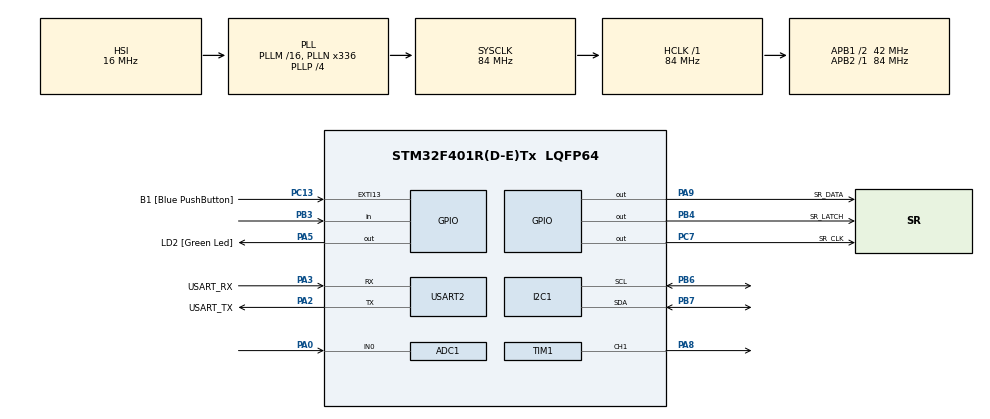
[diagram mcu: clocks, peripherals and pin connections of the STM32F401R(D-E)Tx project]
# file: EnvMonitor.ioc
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ADC1.Channel-1\#ChannelRegularConversion=ADC_CHANNEL_0
ADC1.NbrOfConversionFlag=1
ADC1.Rank-1\#ChannelRegularConversion=1
ADC1.SamplingTime-1\#ChannelRegularConversion=ADC_SAMPLETIME_3CYCLES
ADC1.master=1
Mcu.Family=STM32F4
Mcu.Name=STM32F401R(D-E)Tx
Mcu.Package=LQFP64
NVIC.PriorityGroup=NVIC_PRIORITYGROUP_4
PA0-WKUP.Signal=ADCx_IN0
PA13.GPIO_Label=TMS
PA13.Signal=SYS_JTMS-SWDIO
PA14.GPIO_Label=TCK
PA14.Signal=SYS_JTCK-SWCLK
PA2.GPIO_Label=USART_TX
PA2.GPIO_Mode=GPIO_MODE_AF_PP
PA2.GPIO_PuPd=GPIO_NOPULL
PA2.GPIO_Speed=GPIO_SPEED_FREQ_LOW
PA2.Mode=Asynchronous
PA2.Signal=USART2_TX
PA3.GPIO_Label=USART_RX
PA3.GPIO_Mode=GPIO_MODE_AF_PP
PA3.GPIO_PuPd=GPIO_NOPULL
PA3.GPIO_Speed=GPIO_SPEED_FREQ_LOW
PA3.Mode=Asynchronous
PA3.Signal=USART2_RX
PA5.GPIO_Label=LD2 [Green Led]
PA5.GPIO_Mode=GPIO_MODE_OUTPUT_PP
PA5.GPIO_PuPd=GPIO_NOPULL
PA5.GPIO_Speed=GPIO_SPEED_FREQ_LOW
PA5.Signal=GPIO_Output
PA8.Signal=S_TIM1_CH1
PA9.GPIO_Label=SR_DATA
PA9.Signal=GPIO_Output
PB3.GPIO_PuPd=GPIO_PULLUP
PB3.Signal=GPIO_Input
PB4.GPIO_Label=SR_LATCH
PB4.Signal=GPIO_Output
PB6.Mode=I2C
PB6.Signal=I2C1_SCL
PB7.Mode=I2C
PB7.Signal=I2C1_SDA
PC13-ANTI_TAMP.GPIO_Label=B1 [Blue PushButton]
PC13-ANTI_TAMP.GPIO_ModeDefaultEXTI=GPIO_MODE_IT_FALLING
PC13-ANTI_TAMP.GPIO_PuPd=GPIO_NOPULL
PC13-ANTI_TAMP.Signal=GPXTI13
PC14-OSC32_IN.Mode=LSE-External-Oscillator
PC14-OSC32_IN.Signal=RCC_OSC32_IN
PC15-OSC32_OUT.Mode=LSE-External-Oscillator
PC15-OSC32_OUT.Signal=RCC_OSC32_OUT
PC7.GPIO_Label=SR_CLK
PC7.Signal=GPIO_Output
PH0\ -\ OSC_IN.Mode=HSE-External-Clock-Source
PH0\ -\ OSC_IN.Signal=RCC_OSC_IN
PH1\ -\ OSC_OUT.Mode=HSE-External-Clock-Source
PH1\ -\ OSC_OUT.Signal=RCC_OSC_OUT
ProjectManager.HeapSize=0x200
ProjectManager.StackSize=0x400
ProjectManager.TargetToolchain=STM32CubeIDE
RCC.48MHZClocksFreq_Value=48000000
RCC.AHBFreq_Value=84000000
RCC.APB1CLKDivider=RCC_HCLK_DIV2
RCC.APB1Freq_Value=42000000
RCC.APB1TimFreq_Value=84000000
RCC.APB2Freq_Value=84000000
RCC.APB2TimFreq_Value=84000000
RCC.CortexFreq_Value=84000000
RCC.HCLKFreq_Value=84000000
RCC.HSE_VALUE=8000000
RCC.HSI_VALUE=16000000
RCC.PLLN=336
RCC.PLLP=RCC_PLLP_DIV4
RCC.PLLQ=7
RCC.SYSCLKFreq_VALUE=84000000
RCC.SYSCLKSource=RCC_SYSCLKSOURCE_PLLCLK
RCC.VCOOutputFreq_Value=336000000
SH.ADCx_IN0.0=ADC1_IN0,IN0
SH.S_TIM1_CH1.0=TIM1_CH1,PWM Generation1 CH1
TIM1.Channel-PWM\ Generation1\ CH1=TIM_CHANNEL_1
TIM1.Period=1000
TIM1.Prescaler=84
TIM1.Pulse-PWM\ Generation1\ CH1=500
USART2.VirtualMode=VM_ASYNC
VP_TIM1_VS_ClockSourceINT.Mode=Internal
board=NUCLEO-F401RE

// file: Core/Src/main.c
/* USER CODE BEGIN Header */
/**
  ******************************************************************************
  * @file           : main.c
  * @brief          : Main program body
  ******************************************************************************
  * @attention
  *
  * Copyright (c) 2026 STMicroelectronics.
  * All rights reserved.
  *
  * This software is licensed under terms that can be found in the LICENSE file
  * in the root directory of this software component.
  * If no LICENSE file comes with this software, it is provided AS-IS.
  *
  ******************************************************************************
  */
/* USER CODE END Header */
#include "main.h"

/* USER CODE BEGIN Includes */
#include "ssd1306.h"
#include "fonts.h"
#include "bmp280.h"
#include <stdio.h>
#include <string.h>
/* USER CODE END Includes */

ADC_HandleTypeDef hadc1;

I2C_HandleTypeDef hi2c1;

TIM_HandleTypeDef htim1;

UART_HandleTypeDef huart2;

/* USER CODE BEGIN PV */
uint8_t ledState = 0;           // Current LED state (0=off, 1=on)
uint8_t lastButtonState = 1;    // Last button state (1=not pressed)

// Shift register pin definitions (update if labels didn't work)
#define SR_DATA_Port  GPIOA
#define SR_DATA_Pin   GPIO_PIN_9
#define SR_CLOCK_Port GPIOC
#define SR_CLOCK_Pin  GPIO_PIN_7
#define SR_LATCH_Port GPIOB
#define SR_LATCH_Pin  GPIO_PIN_4

// Function to send byte to shift register
void shiftOut(uint8_t value) {
  // Latch low (preparing to send data)
  HAL_GPIO_WritePin(SR_LATCH_Port, SR_LATCH_Pin, GPIO_PIN_RESET);

  // Send 8 bits, MSB first
  for(int i = 7; i >= 0; i--) {
    // Set data pin
    if(value & (1 << i)) {
      HAL_GPIO_WritePin(SR_DATA_Port, SR_DATA_Pin, GPIO_PIN_SET);
    } else {
      HAL_GPIO_WritePin(SR_DATA_Port, SR_DATA_Pin, GPIO_PIN_RESET);
    }

    // Pulse clock to shift in the bit
    HAL_GPIO_WritePin(SR_CLOCK_Port, SR_CLOCK_Pin, GPIO_PIN_SET);
    HAL_GPIO_WritePin(SR_CLOCK_Port, SR_CLOCK_Pin, GPIO_PIN_RESET);
  }

  // Latch high (display the data)
  HAL_GPIO_WritePin(SR_LATCH_Port, SR_LATCH_Pin, GPIO_PIN_SET);
}
/* USER CODE END PV */

void SystemClock_Config(void);
static void MX_GPIO_Init(void);
static void MX_USART2_UART_Init(void);
static void MX_I2C1_Init(void);
static void MX_ADC1_Init(void);
static void MX_TIM1_Init(void);
/* USER CODE BEGIN PFP */
// Calculate heat index ("feels like" temperature)
float calculate_heat_index(float tempC, float humidity) {
    // Convert to Fahrenheit for the formula
    float tempF = tempC * 9.0f / 5.0f + 32.0f;

    // Simple formula for temperatures below 80°F
    if(tempF < 80.0f) {
        return tempC;  // No heat index adjustment needed
    }

    // Rothfusz regression for heat index
    float hi = -42.379f +
               2.04901523f * tempF +
               10.14333127f * humidity -
               0.22475541f * tempF * humidity -
               0.00683783f * tempF * tempF -
               0.05481717f * humidity * humidity +
               0.00122874f * tempF * tempF * humidity +
               0.00085282f * tempF * humidity * humidity -
               0.00000199f * tempF * tempF * humidity * humidity;

    // Convert back to Celsius
    return (hi - 32.0f) * 5.0f / 9.0f;
}
/* USER CODE END PFP */

/* USER CODE BEGIN 0 */
// Redirect printf to UART2 for serial output
int __io_putchar(int ch) {
    HAL_UART_Transmit(&huart2, (uint8_t*)&ch, 1, HAL_MAX_DELAY);
    return ch;
}

// PWM Buzzer control functions
void buzzer_set_frequency(uint16_t frequency) {
    if(frequency == 0) {
        // Stop PWM
        HAL_TIM_PWM_Stop(&htim1, TIM_CHANNEL_1);
    } else {
        // Calculate period for desired frequency
        // Timer runs at 1 MHz (84 MHz / 84 prescaler)
        uint32_t period = 1000000 / frequency;
        __HAL_TIM_SET_AUTORELOAD(&htim1, period - 1);
        __HAL_TIM_SET_COMPARE(&htim1, TIM_CHANNEL_1, period / 2);  // 50% duty cycle
        HAL_TIM_PWM_Start(&htim1, TIM_CHANNEL_1);
    }
}

void buzzer_tone(uint16_t frequency, uint16_t duration_ms) {
    buzzer_set_frequency(frequency);
    HAL_Delay(duration_ms);
    buzzer_set_frequency(0);
}

void buzzer_stop(void) {
    buzzer_set_frequency(0);
}
/* USER CODE END 0 */

int main(void)
{

  /* MCU Configuration--------------------------------------------------------*/

  /* Reset of all peripherals, Initializes the Flash interface and the Systick. */
  HAL_Init();

  /* Configure the system clock */
  SystemClock_Config();

  /* Initialize all configured peripherals */
  MX_GPIO_Init();
  MX_USART2_UART_Init();
  MX_I2C1_Init();
  MX_ADC1_Init();
  MX_TIM1_Init();
  /* USER CODE BEGIN 2 */
  // Initialize OLED
  ssd1306_Init(&hi2c1);

  // Initialize BMP280
  if(BMP280_Init(&hi2c1) == 0) {
    // BMP280 not found - show error and halt
    ssd1306_Fill(Black);
    ssd1306_SetCursor(2, 2);
    ssd1306_WriteString("BMP280", Font_5x8, White);
    ssd1306_SetCursor(2, 12);
    ssd1306_WriteString("ERROR!", Font_5x8, White);
    ssd1306_UpdateScreen(&hi2c1);
    while(1) {
      HAL_GPIO_TogglePin(LD2_GPIO_Port, LD2_Pin);
      HAL_Delay(200);
    }
  }

  // Play startup melody to confirm system ready
  buzzer_tone(523, 100);  // C5
  HAL_Delay(50);
  buzzer_tone(659, 100);  // E5
  HAL_Delay(50);
  buzzer_tone(784, 200);  // G5
  HAL_Delay(100);

  // Print CSV header for data logging
  printf("Time(ms),Temp(C),Humidity(%%),Pressure(hPa),FeelsLike(C)\r\n");
  /* USER CODE END 2 */

  /* Infinite loop */
  /* USER CODE BEGIN WHILE */
  // Alarm system variables
  #define TEMP_LOW_THRESHOLD 20.0f   // Low temperature threshold in °C
  #define TEMP_HIGH_THRESHOLD 30.0f  // High temperature threshold in °C
  uint8_t alarmActive = 0;           // 1 if temperature is out of range
  uint8_t alarmSilenced = 0;         // 1 if user pressed button to silence
  uint32_t alarmToggleTime = 0;      // For flashing LED pattern

  // Display mode variables
  uint8_t displayMode = 0;           // Current display mode (0-2)
  uint8_t lastButtonRead = 1;        // For button debounce

  // Min/Max tracking
  float minTemp = 100.0f;            // Start high so first reading becomes min
  float maxTemp = -100.0f;           // Start low so first reading becomes max

  while (1)
  {

    /* USER CODE END WHILE */

    /* USER CODE BEGIN 3 */
	  // Read BMP280 sensor data
	  BMP280_Data sensorData;
	  if(BMP280_ReadData(&hi2c1, &sensorData)) {
	    // Update min/max temperatures
	    if(sensorData.temperature < minTemp) minTemp = sensorData.temperature;
	    if(sensorData.temperature > maxTemp) maxTemp = sensorData.temperature;

	    // Calculate feels like temperature
	    float feelsLike = calculate_heat_index(sensorData.temperature, sensorData.humidity);

	    // Send data over serial (CSV format) - convert floats to integers for printf
	    printf("%lu,%d.%02d,%d.%02d,%d.%02d,%d.%02d\r\n",
	           HAL_GetTick(),           // Time in milliseconds since startup
	           (int)sensorData.temperature, (int)(sensorData.temperature * 100) % 100,
	           (int)sensorData.humidity, (int)(sensorData.humidity * 100) % 100,
	           (int)sensorData.pressure, (int)(sensorData.pressure * 100) % 100,
	           (int)feelsLike, (int)(feelsLike * 100) % 100);

	    // Check if temperature is out of range
	    if(sensorData.temperature < TEMP_LOW_THRESHOLD || sensorData.temperature > TEMP_HIGH_THRESHOLD) {
	      alarmActive = 1;
	    } else {
	      alarmActive = 0;
	      alarmSilenced = 0;  // Reset silence when back in range
	    }

	    // Check button - different behavior based on alarm state
	    uint8_t buttonState = HAL_GPIO_ReadPin(GPIOB, GPIO_PIN_3);
	    if(buttonState == GPIO_PIN_RESET && lastButtonRead == GPIO_PIN_SET) {
	      // Button just pressed
	      if(alarmActive) {
	        alarmSilenced = 1;  // Silence alarm
	      } else {
	        displayMode = (displayMode + 1) % 3;  // Cycle through 3 modes
	      }
	    }
	    lastButtonRead = buttonState;

	    // Increment toggle counter for alarm animations
	    alarmToggleTime++;

	    // Sound buzzer if alarm is active and not silenced
	    if(alarmActive && !alarmSilenced) {
	      // Different tones for hot vs cold
	      if(alarmToggleTime % 2 == 0) {
	        if(sensorData.temperature < TEMP_LOW_THRESHOLD) {
	          buzzer_set_frequency(500);  // Low pitch for cold (500 Hz)
	        } else {
	          buzzer_set_frequency(2000); // High pitch for hot (2000 Hz)
	        }
	      } else {
	        buzzer_stop();
	      }
	    } else {
	      buzzer_stop();
	    }

	    // LED bar graph behavior
	    uint8_t ledPattern = 0;
	    if(alarmActive) {
	      // Flash all LEDs if alarm is active
	      if(alarmToggleTime % 2 == 0) {
	        ledPattern = 0xFF;  // All LEDs on
	      } else {
	        ledPattern = 0x00;  // All LEDs off
	      }
	    } else {
	      // Normal mode: show temperature bar graph (map 20-30°C to 0-8 LEDs)
	      int32_t temp_int = (int32_t)(sensorData.temperature * 10);
	      uint8_t numLeds = 0;

	      if(temp_int < 200) {
	        numLeds = 0;
	      } else if(temp_int >= 300) {
	        numLeds = 8;
	      } else {
	        numLeds = ((temp_int - 200) * 8) / 100;
	      }

	      for(int i = 0; i < numLeds; i++) {
	        ledPattern |= (1 << i);
	      }
	    }
	    shiftOut(ledPattern);

	    // Display on OLED
	    char buffer[16];
	    ssd1306_Fill(Black);

	    // Show alarm status or normal header
	    if(alarmActive) {
	      ssd1306_SetCursor(2, 2);
	      ssd1306_WriteString("ALERT!", Font_5x8, White);

	      // Show if too high or too low
	      ssd1306_SetCursor(2, 12);
	      if(sensorData.temperature < TEMP_LOW_THRESHOLD) {
	        ssd1306_WriteString("TOO LOW", Font_5x8, White);
	      } else {
	        ssd1306_WriteString("TOO HIGH", Font_5x8, White);
	      }

	      // Show temperature on third line
	      sprintf(buffer, "T:%d.%dC", (int)sensorData.temperature, (int)(sensorData.temperature * 10) % 10);
	      ssd1306_SetCursor(2, 22);
	      ssd1306_WriteString(buffer, Font_5x8, White);
	    } else {
	      // Normal mode display - different based on displayMode
	      if(displayMode == 0) {
	        // Mode 0: Feels Like + Humidity
	        ssd1306_SetCursor(2, 2);
	        ssd1306_WriteString("FEELS LIKE", Font_5x8, White);

	        sprintf(buffer, "F:%d.%dC", (int)feelsLike, (int)(feelsLike * 10) % 10);
	        ssd1306_SetCursor(2, 12);
	        ssd1306_WriteString(buffer, Font_5x8, White);

	        sprintf(buffer, "H:%d%%", (int)sensorData.humidity);
	        ssd1306_SetCursor(2, 22);
	        ssd1306_WriteString(buffer, Font_5x8, White);

	      } else if(displayMode == 1) {
	        // Mode 1: Actual Temp + Pressure
	        ssd1306_SetCursor(2, 2);
	        ssd1306_WriteString("ACTUAL", Font_5x8, White);

	        sprintf(buffer, "T:%d.%dC", (int)sensorData.temperature, (int)(sensorData.temperature * 10) % 10);
	        ssd1306_SetCursor(2, 12);
	        ssd1306_WriteString(buffer, Font_5x8, White);

	        sprintf(buffer, "P:%dHPA", (int)sensorData.pressure);
	        ssd1306_SetCursor(2, 22);
	        ssd1306_WriteString(buffer, Font_5x8, White);

	      } else {
	        // Mode 2: Min/Max Temperature
	        ssd1306_SetCursor(2, 2);
	        ssd1306_WriteString("MIN/MAX", Font_5x8, White);

	        sprintf(buffer, "L:%d.%dC", (int)minTemp, (int)(minTemp * 10) % 10);
	        ssd1306_SetCursor(2, 12);
	        ssd1306_WriteString(buffer, Font_5x8, White);

	        sprintf(buffer, "H:%d.%dC", (int)maxTemp, (int)(maxTemp * 10) % 10);
	        ssd1306_SetCursor(2, 22);
	        ssd1306_WriteString(buffer, Font_5x8, White);
	      }
	    }

	    ssd1306_UpdateScreen(&hi2c1);
	  }

	  HAL_Delay(500);  // Update twice per second for responsive alarm
  }
  /* USER CODE END 3 */
}

void SystemClock_Config(void)
{
  RCC_OscInitTypeDef RCC_OscInitStruct = {0};
  RCC_ClkInitTypeDef RCC_ClkInitStruct = {0};

  /** Configure the main internal regulator output voltage
  */
  __HAL_RCC_PWR_CLK_ENABLE();
  __HAL_PWR_VOLTAGESCALING_CONFIG(PWR_REGULATOR_VOLTAGE_SCALE2);

  /** Initializes the RCC Oscillators according to the specified parameters
  * in the RCC_OscInitTypeDef structure.
  */
  RCC_OscInitStruct.OscillatorType = RCC_OSCILLATORTYPE_HSI;
  RCC_OscInitStruct.HSIState = RCC_HSI_ON;
  RCC_OscInitStruct.HSICalibrationValue = RCC_HSICALIBRATION_DEFAULT;
  RCC_OscInitStruct.PLL.PLLState = RCC_PLL_ON;
  RCC_OscInitStruct.PLL.PLLSource = RCC_PLLSOURCE_HSI;
  RCC_OscInitStruct.PLL.PLLM = 16;
  RCC_OscInitStruct.PLL.PLLN = 336;
  RCC_OscInitStruct.PLL.PLLP = RCC_PLLP_DIV4;
  RCC_OscInitStruct.PLL.PLLQ = 7;
  if (HAL_RCC_OscConfig(&RCC_OscInitStruct) != HAL_OK)
  {
    Error_Handler();
  }

  /** Initializes the CPU, AHB and APB buses clocks
  */
  RCC_ClkInitStruct.ClockType = RCC_CLOCKTYPE_HCLK|RCC_CLOCKTYPE_SYSCLK
                              |RCC_CLOCKTYPE_PCLK1|RCC_CLOCKTYPE_PCLK2;
  RCC_ClkInitStruct.SYSCLKSource = RCC_SYSCLKSOURCE_PLLCLK;
  RCC_ClkInitStruct.AHBCLKDivider = RCC_SYSCLK_DIV1;
  RCC_ClkInitStruct.APB1CLKDivider = RCC_HCLK_DIV2;
  RCC_ClkInitStruct.APB2CLKDivider = RCC_HCLK_DIV1;

  if (HAL_RCC_ClockConfig(&RCC_ClkInitStruct, FLASH_LATENCY_2) != HAL_OK)
  {
    Error_Handler();
  }
}

static void MX_ADC1_Init(void)
{

  ADC_ChannelConfTypeDef sConfig = {0};

  /** Configure the global features of the ADC (Clock, Resolution, Data Alignment and number of conversion)
  */
  hadc1.Instance = ADC1;
  hadc1.Init.ClockPrescaler = ADC_CLOCK_SYNC_PCLK_DIV4;
  hadc1.Init.Resolution = ADC_RESOLUTION_12B;
  hadc1.Init.ScanConvMode = DISABLE;
  hadc1.Init.ContinuousConvMode = DISABLE;
  hadc1.Init.DiscontinuousConvMode = DISABLE;
  hadc1.Init.ExternalTrigConvEdge = ADC_EXTERNALTRIGCONVEDGE_NONE;
  hadc1.Init.ExternalTrigConv = ADC_SOFTWARE_START;
  hadc1.Init.DataAlign = ADC_DATAALIGN_RIGHT;
  hadc1.Init.NbrOfConversion = 1;
  hadc1.Init.DMAContinuousRequests = DISABLE;
  hadc1.Init.EOCSelection = ADC_EOC_SINGLE_CONV;
  if (HAL_ADC_Init(&hadc1) != HAL_OK)
  {
    Error_Handler();
  }

  /** Configure for the selected ADC regular channel its corresponding rank in the sequencer and its sample time.
  */
  sConfig.Channel = ADC_CHANNEL_0;
  sConfig.Rank = 1;
  sConfig.SamplingTime = ADC_SAMPLETIME_3CYCLES;
  if (HAL_ADC_ConfigChannel(&hadc1, &sConfig) != HAL_OK)
  {
    Error_Handler();
  }

}

static void MX_I2C1_Init(void)
{

  hi2c1.Instance = I2C1;
  hi2c1.Init.ClockSpeed = 100000;
  hi2c1.Init.DutyCycle = I2C_DUTYCYCLE_2;
  hi2c1.Init.OwnAddress1 = 0;
  hi2c1.Init.AddressingMode = I2C_ADDRESSINGMODE_7BIT;
  hi2c1.Init.DualAddressMode = I2C_DUALADDRESS_DISABLE;
  hi2c1.Init.OwnAddress2 = 0;
  hi2c1.Init.GeneralCallMode = I2C_GENERALCALL_DISABLE;
  hi2c1.Init.NoStretchMode = I2C_NOSTRETCH_DISABLE;
  if (HAL_I2C_Init(&hi2c1) != HAL_OK)
  {
    Error_Handler();
  }

}

static void MX_TIM1_Init(void)
{

  TIM_ClockConfigTypeDef sClockSourceConfig = {0};
  TIM_MasterConfigTypeDef sMasterConfig = {0};
  TIM_OC_InitTypeDef sConfigOC = {0};
  TIM_BreakDeadTimeConfigTypeDef sBreakDeadTimeConfig = {0};

  htim1.Instance = TIM1;
  htim1.Init.Prescaler = 84;
  htim1.Init.CounterMode = TIM_COUNTERMODE_UP;
  htim1.Init.Period = 1000;
  htim1.Init.ClockDivision = TIM_CLOCKDIVISION_DIV1;
  htim1.Init.RepetitionCounter = 0;
  htim1.Init.AutoReloadPreload = TIM_AUTORELOAD_PRELOAD_DISABLE;
  if (HAL_TIM_Base_Init(&htim1) != HAL_OK)
  {
    Error_Handler();
  }
  sClockSourceConfig.ClockSource = TIM_CLOCKSOURCE_INTERNAL;
  if (HAL_TIM_ConfigClockSource(&htim1, &sClockSourceConfig) != HAL_OK)
  {
    Error_Handler();
  }
  if (HAL_TIM_PWM_Init(&htim1) != HAL_OK)
  {
    Error_Handler();
  }
  sMasterConfig.MasterOutputTrigger = TIM_TRGO_RESET;
  sMasterConfig.MasterSlaveMode = TIM_MASTERSLAVEMODE_DISABLE;
  if (HAL_TIMEx_MasterConfigSynchronization(&htim1, &sMasterConfig) != HAL_OK)
  {
    Error_Handler();
  }
  sConfigOC.OCMode = TIM_OCMODE_PWM1;
  sConfigOC.Pulse = 500;
  sConfigOC.OCPolarity = TIM_OCPOLARITY_HIGH;
  sConfigOC.OCNPolarity = TIM_OCNPOLARITY_HIGH;
  sConfigOC.OCFastMode = TIM_OCFAST_DISABLE;
  sConfigOC.OCIdleState = TIM_OCIDLESTATE_RESET;
  sConfigOC.OCNIdleState = TIM_OCNIDLESTATE_RESET;
  if (HAL_TIM_PWM_ConfigChannel(&htim1, &sConfigOC, TIM_CHANNEL_1) != HAL_OK)
  {
    Error_Handler();
  }
  sBreakDeadTimeConfig.OffStateRunMode = TIM_OSSR_DISABLE;
  sBreakDeadTimeConfig.OffStateIDLEMode = TIM_OSSI_DISABLE;
  sBreakDeadTimeConfig.LockLevel = TIM_LOCKLEVEL_OFF;
  sBreakDeadTimeConfig.DeadTime = 0;
  sBreakDeadTimeConfig.BreakState = TIM_BREAK_DISABLE;
  sBreakDeadTimeConfig.BreakPolarity = TIM_BREAKPOLARITY_HIGH;
  sBreakDeadTimeConfig.AutomaticOutput = TIM_AUTOMATICOUTPUT_DISABLE;
  if (HAL_TIMEx_ConfigBreakDeadTime(&htim1, &sBreakDeadTimeConfig) != HAL_OK)
  {
    Error_Handler();
  }
  HAL_TIM_MspPostInit(&htim1);

}

static void MX_USART2_UART_Init(void)
{

  huart2.Instance = USART2;
  huart2.Init.BaudRate = 115200;
  huart2.Init.WordLength = UART_WORDLENGTH_8B;
  huart2.Init.StopBits = UART_STOPBITS_1;
  huart2.Init.Parity = UART_PARITY_NONE;
  huart2.Init.Mode = UART_MODE_TX_RX;
  huart2.Init.HwFlowCtl = UART_HWCONTROL_NONE;
  huart2.Init.OverSampling = UART_OVERSAMPLING_16;
  if (HAL_UART_Init(&huart2) != HAL_OK)
  {
    Error_Handler();
  }

}

static void MX_GPIO_Init(void)
{
  GPIO_InitTypeDef GPIO_InitStruct = {0};

  /* GPIO Ports Clock Enable */
  __HAL_RCC_GPIOC_CLK_ENABLE();
  __HAL_RCC_GPIOH_CLK_ENABLE();
  __HAL_RCC_GPIOA_CLK_ENABLE();
  __HAL_RCC_GPIOB_CLK_ENABLE();

  /*Configure GPIO pin Output Level */
  HAL_GPIO_WritePin(GPIOA, LD2_Pin|SR_DATA_Pin, GPIO_PIN_RESET);

  /*Configure GPIO pin Output Level */
  HAL_GPIO_WritePin(SR_CLK_GPIO_Port, SR_CLK_Pin, GPIO_PIN_RESET);

  /*Configure GPIO pin Output Level */
  HAL_GPIO_WritePin(SR_LATCH_GPIO_Port, SR_LATCH_Pin, GPIO_PIN_RESET);

  /*Configure GPIO pin : B1_Pin */
  GPIO_InitStruct.Pin = B1_Pin;
  GPIO_InitStruct.Mode = GPIO_MODE_IT_FALLING;
  GPIO_InitStruct.Pull = GPIO_NOPULL;
  HAL_GPIO_Init(B1_GPIO_Port, &GPIO_InitStruct);

  /*Configure GPIO pins : LD2_Pin SR_DATA_Pin */
  GPIO_InitStruct.Pin = LD2_Pin|SR_DATA_Pin;
  GPIO_InitStruct.Mode = GPIO_MODE_OUTPUT_PP;
  GPIO_InitStruct.Pull = GPIO_NOPULL;
  GPIO_InitStruct.Speed = GPIO_SPEED_FREQ_LOW;
  HAL_GPIO_Init(GPIOA, &GPIO_InitStruct);

  /*Configure GPIO pin : SR_CLK_Pin */
  GPIO_InitStruct.Pin = SR_CLK_Pin;
  GPIO_InitStruct.Mode = GPIO_MODE_OUTPUT_PP;
  GPIO_InitStruct.Pull = GPIO_NOPULL;
  GPIO_InitStruct.Speed = GPIO_SPEED_FREQ_LOW;
  HAL_GPIO_Init(SR_CLK_GPIO_Port, &GPIO_InitStruct);

  /*Configure GPIO pin : PB3 */
  GPIO_InitStruct.Pin = GPIO_PIN_3;
  GPIO_InitStruct.Mode = GPIO_MODE_INPUT;
  GPIO_InitStruct.Pull = GPIO_PULLUP;
  HAL_GPIO_Init(GPIOB, &GPIO_InitStruct);

  /*Configure GPIO pin : SR_LATCH_Pin */
  GPIO_InitStruct.Pin = SR_LATCH_Pin;
  GPIO_InitStruct.Mode = GPIO_MODE_OUTPUT_PP;
  GPIO_InitStruct.Pull = GPIO_NOPULL;
  GPIO_InitStruct.Speed = GPIO_SPEED_FREQ_LOW;
  HAL_GPIO_Init(SR_LATCH_GPIO_Port, &GPIO_InitStruct);

}

void Error_Handler(void)
{
  __disable_irq();
  while (1)
  {
  }
}
